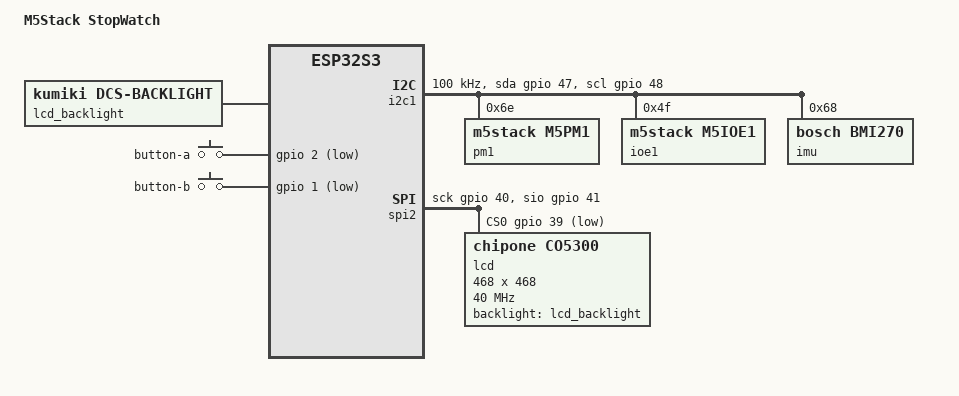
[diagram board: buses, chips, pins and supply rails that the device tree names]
/*
 * M5Stack StopWatch (ESP32-S3R8, 1.75" round AMOLED).
 * Sources: https://docs.m5stack.com/en/core/StopWatch ,
 *          M5GFX master src/board_detect (board_spec data, pmic_ops, MIT).
 */
/dts-v1/;

#include <soc/espressif/esp32s3.dtsi>
#include <kumiki/gpio.h>

/ {
	model = "M5Stack StopWatch";
	compatible = "m5stack,stopwatch", "espressif,esp32s3";

	chosen {
		kumiki,display = &lcd;
		kumiki,touch = &touch_cst820, &touch_cst9217;
		kumiki,imu = &imu;
	};

	lcd_backlight: backlight {
		compatible = "kumiki,dcs-backlight"; /* AMOLED brightness command 0x51 */
		display = <&lcd>;
	};

	buttons {
		compatible = "gpio-keys";
		button-a {
			gpios = <&gpio 2 GPIO_ACTIVE_LOW>;
			kumiki,button = "a";
		};
		button-b {
			gpios = <&gpio 1 GPIO_ACTIVE_LOW>;
			kumiki,button = "b";
		};
	};

	/* Glue: the M5PM1 / M5IOE1 register sequence that powers and resets the
	 * panel and touch controller (port of M5GFX pmic_ops::stopwatch_power_on). */
	power_seq: power-sequence {
		compatible = "m5stack,stopwatch-power-sequence";
		pmic = <&pm1>;
		io-expander = <&ioe1>;
		hold-cs = <&spi2>; /* keep the panel CS high while powering up */
	};

	kumiki,detect {
		compatible = "kumiki,board-detect";
		pmic-ack {
			compatible = "kumiki,probe-i2c-ack";
			device = <&pm1>;
			register = <0x00>;
		};
	};
};

&i2c1 {
	status = "okay";
	clock-frequency = <100000>;
	sda-gpios = <&gpio 47 GPIO_ACTIVE_HIGH>;
	scl-gpios = <&gpio 48 GPIO_ACTIVE_HIGH>;
	kumiki,bus-recovery;

	pm1: pmic@6e {
		compatible = "m5stack,m5pm1";
		reg = <0x6e>;
	};

	ioe1: gpio@4f {
		compatible = "m5stack,m5ioe1";
		reg = <0x4f>;
		gpio-controller;
		#gpio-cells = <2>;
		kumiki,depends-on = <&pm1>; /* boots after the PMIC rails are up */
	};

	/* Second-source touch controllers (Linux i2c-of-prober convention). */
	touch_cst820: touchscreen@15 {
		compatible = "hynitron,cst820";
		reg = <0x15>;
		status = "fail-needs-probe";
		kumiki,probe-group = "touch";
		kumiki,depends-on = <&power_seq>; /* reset is released by the IO expander */
		/* Measured on a real unit (3-point fit, 2026-11-08). */
		touchscreen-min-x = <(-29)>;
		touchscreen-min-y = <(-40)>;
		touchscreen-size-x = <526>;
		touchscreen-size-y = <528>;
	};

	touch_cst9217: touchscreen@5a {
		compatible = "hynitron,cst9217";
		reg = <0x5a>;
		status = "fail-needs-probe";
		kumiki,probe-group = "touch";
		kumiki,depends-on = <&power_seq>;
	};

	imu: imu@68 {
		compatible = "bosch,bmi270";
		reg = <0x68>;
		kumiki,depends-on = <&power_seq>; /* sensor rails come up with the PMIC sequence */
	};
};

&spi2 {
	status = "okay";
	sck-gpios = <&gpio 40 GPIO_ACTIVE_HIGH>;
	cs-gpios = <&gpio 39 GPIO_ACTIVE_LOW>;
	sio-gpios = <&gpio 41 0>, <&gpio 42 0>, <&gpio 46 0>, <&gpio 45 0>;

	lcd: display@0 {
		compatible = "chipone,co5300";
		reg = <0>;
		spi-max-frequency = <40000000>;
		kumiki,depends-on = <&power_seq>; /* panel power and reset come from the IO expander */
		backlight = <&lcd_backlight>;
		width = <468>;
		height = <468>;
		kumiki,offset = <6 0>;
		kumiki,rgb-order = "rgb";
		kumiki,round-diameter = <466>;
		kumiki,frame-buffer = "psram";
	};
};
